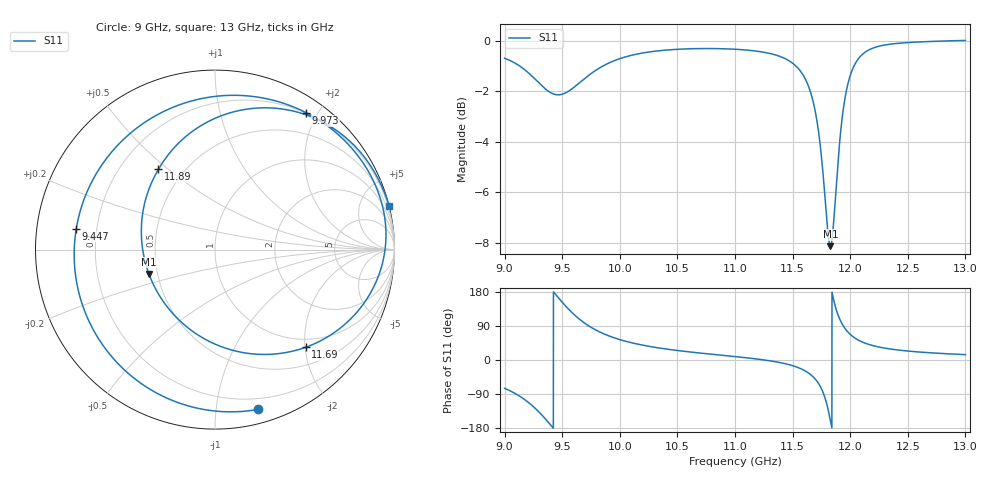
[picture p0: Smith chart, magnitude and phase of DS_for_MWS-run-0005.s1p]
! TOUCHSTONE file generated by CST DESIGN STUDIO
! Date and time: Tue Feb  4 18:03:00 2025
! Project name: C:\Work\MatlabApps\UnitCellOptimizationMatlab\CST\unitcell.cst
! Tree item: Tasks\Sweep1\SPara1\S-Parameters
! Header version: 2024
! Port assignment regex: !\s*Touchstone port\s*([0-9]+)\s*=\s*(CST MWS port|CST DES external port|CST DES block port)\s*(.+)\s* \(\"(.*)\"\)(\s*mode\s*([0-9]+))?.*
! Touchstone port assignment:
! Touchstone port 1 = CST DES external port 1 ("")
# GHz S MA R 50
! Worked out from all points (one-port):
!   4001 points, 9 GHz to 13 GHz, reference 50 ohm
!   lowest |S11| = -8.1 dB at 11.83 GHz (marker M1), VSWR 2.29, Z = 22.4 - j7.22 ohm
!   |S11| at or under -10 dB: nowhere
!   S11 on the Smith chart (normalised r, x): 9 GHz: 0.11, -1.30; 9.447 GHz: 0.12, +0.07; 9.973 GHz: 0.19, +1.85; 11.69 GHz: 0.83, -2.01; 11.89 GHz: 0.36, +0.46; 13 GHz: -0.01, +8.04
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9  0.9225 -74.8
9.133  0.8897 -95.9
9.234  0.8519 -118.9
9.353  0.8025 -155.1
9.447  0.7816 171.4
9.5  0.7831 152.5
9.592  0.8049 123.1
9.688  0.8387 98.7
9.827  0.8834 73.8
9.973  0.9162 56.3
10  0.9208 53.8
10.215  0.9462 38.2
10.5  0.9608 25.1
11  0.961 9.0
11.5  0.9019 -15.0
11.608  0.8413 -28.6
11.687  0.7425 -47.2
11.766  0.5401 -86.7
11.796  0.4445 -115.4
11.828  0.3923 -159.6
11.856  0.4365 159.3
11.887  0.5469 125.2
11.937  0.7229 91.5
12  0.8523 67.7
12.075  0.9228 51.8
12.172  0.9605 40.1
12.5  0.9906 23.6
13  1 14.2
